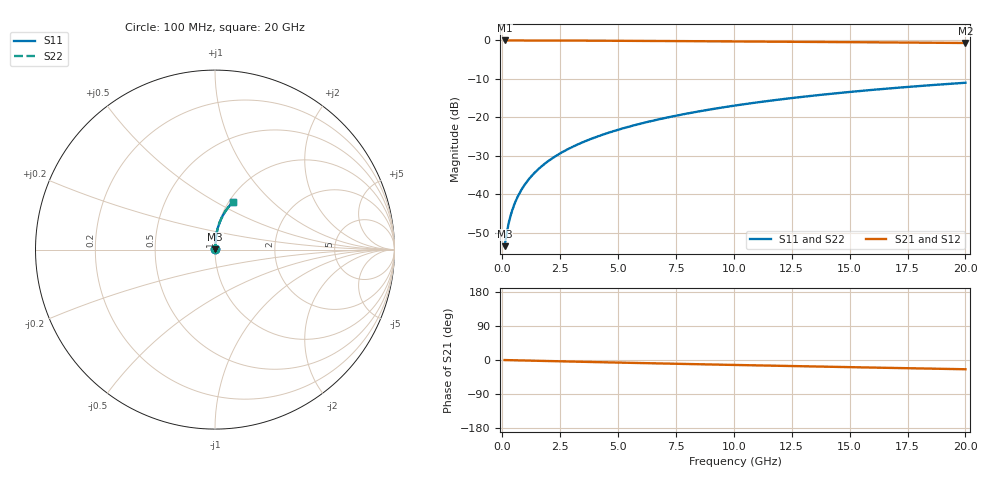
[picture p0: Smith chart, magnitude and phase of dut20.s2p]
! Touchstone file exported from HFSS 2024.1.0
!  File:  C:/UserFiles/LocalFiles/RDL_TSV_Batchsim/temp_RDL_top_20_1778680216.aedt
!  Generated:  09:52:21 PM May 13, 2026
!  Design:  RDL_top
!  Project:  temp_RDL_top_20_1778680216
!  Setup:  Setup1
!  Solution:  Sweep
! Variables:
!  dtsv = 10.80580581um
!  hbump = 3um
!  htsv = 79.98um
!  ldown = 100um
!  lrdl = 288.48um
!  p = 40
!  p1 = 55.49um
!  rhole = 1um
!  t = 450um
!  tdown = 3.915915916um
!  trdl = 3.94um
!  wdown = 15.38538539um
!  wrdl = 18.56um
# GHz S MA R 50.000000
! Terminal data exported
! Port[1] = Box2_T1
! Port[2] = Box2_T2
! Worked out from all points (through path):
!   200 points, 100 MHz to 20 GHz, reference 50 ohm
!   highest |S21| = -0.01 dB at 100 MHz (marker M1); lowest = -0.7 dB at 20 GHz (marker M2)
!   group delay of S21, straight-line fit = 3.37 ps
!   lowest |S11| = -53.5 dB at 100 MHz (marker M3), VSWR 1.00, Z = 50.2 + j0.144 ohm
!   |S11| at or under -10 dB: start of sweep to end of sweep
!   |S22| runs from -53.5 to -11.0 dB; largest |S21 - S12| = 1.9e-15
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0.1  0.002121 42.5  0.9984 -0.1  0.9984 -0.1  0.002121 42.5
! Gamma 0 0 0 0
! Port Impedance 50 0 50 0
0.2  0.003268 60.3  0.9984 -0.3  0.9984 -0.3  0.003268 60.3
0.3  0.00454 68.3  0.9983 -0.4  0.9983 -0.4  0.00454 68.3
0.4  0.005838 72.7  0.9982 -0.6  0.9982 -0.6  0.005838 72.7
0.5  0.007145 75.5  0.9981 -0.7  0.9981 -0.7  0.007145 75.5
0.6  0.008458 77.5  0.9981 -0.8  0.9981 -0.8  0.008458 77.5
0.8  0.0111 80.2  0.9979 -1.1  0.9979 -1.1  0.0111 80.2
1.1  0.0151 82.4  0.9976 -1.5  0.9976 -1.5  0.0151 82.4
1.5  0.02047 84.0  0.9972 -2.1  0.9972 -2.1  0.02047 84.0
1.8  0.02453 84.7  0.9968 -2.5  0.9968 -2.5  0.02453 84.7
2.1  0.0286 85.2  0.9963 -2.9  0.9963 -2.9  0.0286 85.2
2.7  0.03681 85.7  0.9951 -3.8  0.9951 -3.8  0.03681 85.7
3.5  0.04788 85.9  0.9932 -4.8  0.9932 -4.8  0.04788 85.9
4.2  0.05768 85.8  0.9913 -5.8  0.9913 -5.8  0.05768 85.8
5  0.069 85.5  0.9888 -6.8  0.9888 -6.8  0.069 85.5
5.9  0.08189 84.9  0.9858 -8.0  0.9858 -8.0  0.08189 84.9
6.8  0.09491 84.3  0.9826 -9.1  0.9826 -9.1  0.09491 84.3
8.4  0.1183 82.8  0.9765 -11.1  0.9765 -11.1  0.1183 82.8
10.1  0.1432 81.1  0.9697 -13.2  0.9697 -13.2  0.1432 81.1
13.4  0.1912 77.3  0.9559 -17.0  0.9559 -17.0  0.1912 77.3
16.7  0.2375 73.4  0.9412 -20.8  0.9412 -20.8  0.2376 73.4
20  0.2817 69.6  0.9258 -24.4  0.9258 -24.4  0.2817 69.6
